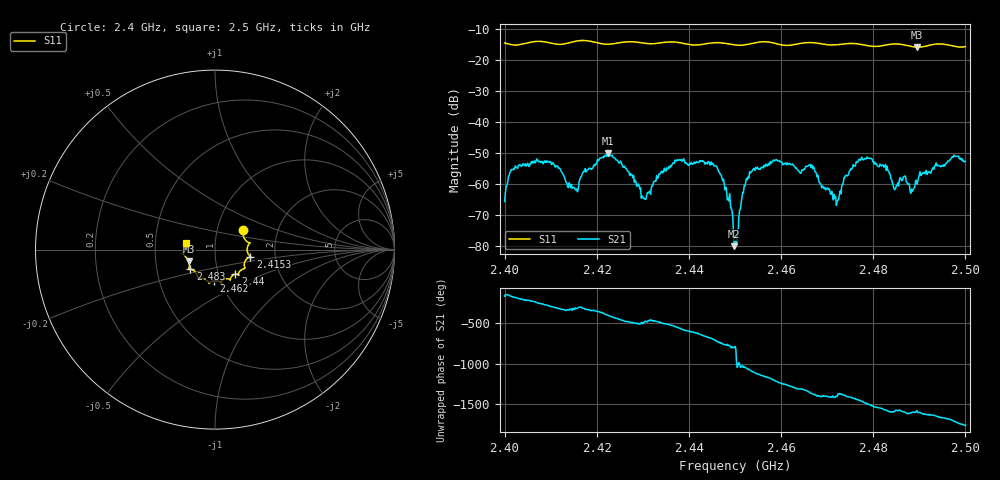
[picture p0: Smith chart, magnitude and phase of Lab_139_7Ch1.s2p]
# Hz S RI R 50
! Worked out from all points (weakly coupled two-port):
!   601 points, 2.4 GHz to 2.5 GHz, reference 50 ohm
!   highest |S21| = -50.15 dB at 2.4223 GHz (marker M1); lowest = -80.1 dB at 2.4498 GHz (marker M2)
!   lowest |S11| = -15.9 dB at 2.4895 GHz (marker M3), VSWR 1.38, Z = 36.9 - j4.99 ohm
!   |S11| at or under -10 dB: start of sweep to end of sweep
!   S12 and S22 are empty: the file has one direction only
!   S11 on the Smith chart (normalised r, x): 2.4 GHz: 1.33, +0.29; 2.4153 GHz: 1.48, -0.12; 2.44 GHz: 1.20, -0.34; 2.462 GHz: 0.93, -0.33; 2.483 GHz: 0.74, -0.17; 2.5 GHz: 0.72, +0.06
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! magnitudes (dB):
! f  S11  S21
! 2.4 GHz  -14.5  -65.7
! 2.4018 GHz  -15.1  -55.4
! 2.4067 GHz  -14.0  -53.2
! 2.4153 GHz  -14.0  -61.8
! 2.4167 GHz  -13.7  -57.6
! 2.4223 GHz  -14.9  -50.2
! 2.4302 GHz  -14.5  -64.7
! 2.4333 GHz  -14.6  -57.9
! 2.44 GHz  -15.0  -54.0
! 2.4462 GHz  -14.4  -54.9
! 2.449 GHz  -14.9  -66.5
! 2.4498 GHz  -15.1  -80.1
! 2.45 GHz  -15.1  -78.3
! 2.4537 GHz  -14.6  -55.9
! 2.462 GHz  -15.2  -53.5
! 2.4667 GHz  -14.4  -53.9
! 2.4718 GHz  -15.1  -64.1
! 2.477 GHz  -14.9  -52.0
! 2.483 GHz  -15.1  -54.3
! 2.4833 GHz  -15.0  -55.9
! 2.4895 GHz  -15.9  -59.9
! 2.5 GHz  -15.7  -52.7
